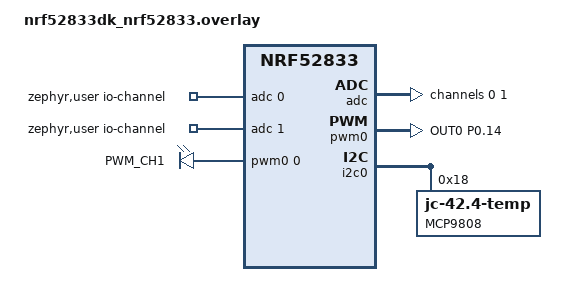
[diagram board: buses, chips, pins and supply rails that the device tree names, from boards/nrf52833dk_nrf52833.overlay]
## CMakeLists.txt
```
# SPDX-License-Identifier: Apache-2.0

cmake_minimum_required(VERSION 3.20.0)
find_package(Zephyr REQUIRED HINTS $ENV{ZEPHYR_BASE})
project(ecg-temp-ble-project)

# make sure to add the source code for new libraries
target_sources(app PRIVATE src/main.c src/read_temperature_sensor.c src/ble-lib.c src/heart_beat_peak_detection.c)
```

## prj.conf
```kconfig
CONFIG_GPIO=y
CONFIG_LOG=y
CONFIG_ADC=y
CONFIG_ADC_ASYNC=y
CONFIG_PWM=y
CONFIG_SMF=y
CONFIG_SENSOR=y
CONFIG_CBPRINTF_FP_SUPPORT=y
CONFIG_EVENTS=y

# BLE
CONFIG_BT=y
CONFIG_BT_PERIPHERAL=y
CONFIG_BT_DEVICE_NAME="Arsh Banipal Final Device"
CONFIG_BT_DEVICE_APPEARANCE=0
CONFIG_BT_MAX_CONN=1
CONFIG_BT_LL_SOFTDEVICE=y
CONFIG_BT_BAS=y 
CONFIG_BT_HRS=y
CONFIG_BT_SETTINGS=y
CONFIG_SETTINGS_RUNTIME=y
CONFIG_SETTINGS=y
CONFIG_SETTINGS_NONE=y

# DIS (Device Information Service)
CONFIG_BT_DIS=y
CONFIG_BT_DIS_SETTINGS=y
CONFIG_BT_DIS_STR_MAX=25
CONFIG_BT_DIS_MODEL="nRF52833dk"
CONFIG_BT_DIS_MANUF="Nordic Semiconductor"
CONFIG_BT_DIS_SERIAL_NUMBER=y
CONFIG_BT_DIS_SERIAL_NUMBER_STR="0001"
CONFIG_BT_DIS_FW_REV=y
CONFIG_BT_DIS_FW_REV_STR="1.0.0" 
CONFIG_BT_DIS_HW_REV=y
CONFIG_BT_DIS_HW_REV_STR="1.0.0"
CONFIG_BT_DIS_SW_REV=y
CONFIG_BT_DIS_SW_REV_STR="1.0.0"
CONFIG_BT_DIS_PNP=y
CONFIG_BT_DIS_PNP_VID_SRC=1
CONFIG_BT_DIS_PNP_VID=0x01FF

# Debugging
CONFIG_DEBUG_OPTIMIZATIONS=y
CONFIG_DEBUG_THREAD_INFO=y
```

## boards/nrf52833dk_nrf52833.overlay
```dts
/ {
        zephyr,user {
            io-channels = <&adc 0>, <&adc 1>;
                };
	aliases {
        heartbeat = &led0;  // this corresponds to LED1 on the board
        // batterylevel = &led1;  // this corresponds to LED2 on the board
        avgheartrate = &led2;  // this corresponds to LED3 on the board
        erroronly = &led3;  // this corresponds to LED4 on the board

        hrmeasure = &button0;
        clearmeasure = &button1;
        resetdevice = &button2;

        vadc = &vadc;
        diffadc = &diffadc;

        pwm1 = &pwmch1;
	};

    pwm {
        compatible = "pwm-leds";
        // Battery level LED
        pwmch1: pwm_1 {
            pwms = < &pwm0 0 PWM_MSEC(1) PWM_POLARITY_INVERTED>;
            label = "PWM_CH1";
        };
    };
};

&adc {
    #address-cells = <1>;
    #size-cells = <0>;

    vadc: channel@0 {
        reg = <0>;
        zephyr,reference = "ADC_REF_INTERNAL";
        zephyr,gain = "ADC_GAIN_1_5";
        zephyr,acquisition-time = <ADC_ACQ_TIME_DEFAULT>;
        zephyr,input-positive = <NRF_SAADC_AIN0>; // P0.02
        zephyr,resolution = <12>;
    };

    diffadc: channel@1 {
        reg = <1>;
        zephyr,reference = "ADC_REF_INTERNAL";
        zephyr,gain = "ADC_GAIN_1_5";
        zephyr,acquisition-time = <ADC_ACQ_TIME_DEFAULT>;
        zephyr,input-positive = <NRF_SAADC_AIN1>;  // P0.03
        zephyr,input-negative = <NRF_SAADC_AIN2>;  // P0.04
        zephyr,resolution = <12>;
    };

    status = "okay";
};

&pwm0 {
    compatible = "nordic,nrf-pwm";
    reg = <0x4001c000 0x1000>;
    interrupts = <28 NRF_DEFAULT_IRQ_PRIORITY>;
    status = "okay";
    #pwm-cells = <3>;
    pinctrl-0 = <&pwm0_default>;
    pinctrl-1 = <&pwm0_sleep>;
    pinctrl-names = "default", "sleep";
};
&pinctrl {
    compatible = "nordic,nrf-pinctrl";
    status = "okay";
    pwm0_default: pwm0_default {
        group1 {
            psels = <NRF_PSEL(PWM_OUT0, 0, 14)>; // P0.14, channel 0
            nordic,invert;
        };
    };
    pwm0_sleep: pwm0_sleep {
        group1 {
            psels = <NRF_PSEL(PWM_OUT0, 0, 14)>; // P0.14, channel 0
            low-power-enable;
        };
    };
}; 

/* I2C Pin Mapping
SCK: P0.27
SDA: P0.26
*/
&i2c0 {
    status = "okay";

    mcp9808@18 {
        compatible = "jedec,jc-42.4-temp";
        reg = <0x18>;
        label = "MCP9808";
        status = "okay";
    };
};
```

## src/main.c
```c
#include <zephyr/kernel.h>
#include <zephyr/device.h>
#include <zephyr/devicetree.h>
#include <zephyr/drivers/gpio.h> 
#include <zephyr/logging/log.h>
#include <zephyr/drivers/adc.h>
#include <zephyr/drivers/pwm.h> 
#include <zephyr/smf.h> 

#include "read_temperature_sensor.h"
#include "heart_beat_peak_detection.h"
#include "ble-lib.h"

LOG_MODULE_REGISTER(main, LOG_LEVEL_DBG);

#define MEASUREMENT_DELAY_MS 1000
#define BATTERY_MEASURE_INTERVAL_MS 60000
#define PWM_PERIOD_USEC 1000

#define ECG_SAMPLE_RATE_HZ 1000
#define ECG_DURATION_SEC 30
#define ECG_BUFFER_SIZE (ECG_SAMPLE_RATE_HZ * ECG_DURATION_SEC)

#define ERROR_LED_ON_TIME_MS 500
#define ERROR_LED_PERIOD_USEC (ERROR_LED_ON_TIME_MS * 1000)

static struct adc_sequence ecg_seq;
static volatile int ecg_sample_index = 0;

volatile bool led2_enabled = true;
volatile bool error_state_flag = false;

float battery_pct = 0.0f;  // should be int; don't need float precision

static struct k_poll_signal adc_signal;

extern enum bt_data_notifications_enabled notifications_enabled;
extern struct bt_gatt_service remote_srv;


static enum adc_action ecg_adc_callback(const struct device *dev,
    const struct adc_sequence *sequence,
    void *user_data)
{
    ARG_UNUSED(dev);
    ARG_UNUSED(sequence);
    ARG_UNUSED(user_data);

    ecg_sample_index++;
    return ADC_ACTION_FINISH;
}

static struct adc_sequence_options ecg_seq_opts = {
    .callback = ecg_adc_callback,
    .user_data = NULL,
    .extra_samplings = 0,
};

// function declarations

const struct device *const temp_sensor = DEVICE_DT_GET_ONE(jedec_jc_42_4_temp);

float temperature_degC;
volatile float measured_bpm = 0.0f;  // would use int; shouldn't have to be volatile

// Define Device Events
K_EVENT_DEFINE(app_events);
// Represent Button with Mask
#define MEASURE_DATA BIT(0)
#define CLEAR_LED BIT(1)
#define RESET_DEVICE BIT(2)
#define BATTERY_TIMER_EVENT BIT(3)

// Define Error Events
K_EVENT_DEFINE(errors);
// Represent Errors with Mask
#define MEASURE_ERROR BIT(0)
#define LED_BUTTON_ERROR BIT(1)
#define ADC_ERROR BIT(2)
#define TEMP_SENSOR_ERROR BIT(3)
#define BLE_ERROR BIT(4)


void battery_timer_handler(struct k_timer *timer_id) {
    k_event_post(&app_events, BATTERY_TIMER_EVENT);
}
K_TIMER_DEFINE(battery_timer, battery_timer_handler, NULL);


// Define ADC Channel Configuration
#define ADC_DT_SPEC_GET_BY_ALIAS(adc_alias)                  \
{                                                            \
    .dev = DEVICE_DT_GET(DT_PARENT(DT_ALIAS(adc_alias))),    \
    .channel_id = DT_REG_ADDR(DT_ALIAS(adc_alias)),          \
    ADC_CHANNEL_CFG_FROM_DT_NODE(DT_ALIAS(adc_alias))        \
}

static const struct adc_dt_spec adc_vadc = ADC_DT_SPEC_GET_BY_ALIAS(vadc);
static int16_t adc_buf;

static const struct adc_dt_spec adc_diff = ADC_DT_SPEC_GET_BY_ALIAS(diffadc);
static int16_t ecg_buffer[ECG_BUFFER_SIZE];

static const struct pwm_dt_spec pwm1 = PWM_DT_SPEC_GET(DT_ALIAS(pwm1));

// Configure LEDs and Buttons
static const struct gpio_dt_spec heartbeat_led = GPIO_DT_SPEC_GET(DT_ALIAS(heartbeat), gpios);
// static const struct gpio_dt_spec battery_led = GPIO_DT_SPEC_GET(DT_ALIAS(batterylevel), gpios);
static const struct gpio_dt_spec average_hr_led = GPIO_DT_SPEC_GET(DT_ALIAS(avgheartrate), gpios);
static const struct gpio_dt_spec error_led = GPIO_DT_SPEC_GET(DT_ALIAS(erroronly), gpios);

static const struct gpio_dt_spec measure_button = GPIO_DT_SPEC_GET(DT_ALIAS(hrmeasure), gpios);
static const struct gpio_dt_spec clear_button = GPIO_DT_SPEC_GET(DT_ALIAS(sw1), gpios);
static const struct gpio_dt_spec reset_button = GPIO_DT_SPEC_GET(DT_ALIAS(sw2), gpios);

static struct gpio_callback measure_button_cb;
void measure_button_callback(const struct device *dev, struct gpio_callback *cb, uint32_t pins) {
    k_event_post(&app_events, MEASURE_DATA);
}

static struct gpio_callback clear_button_cb;
void clear_button_callback(const struct device *dev, struct gpio_callback *cb, uint32_t pins) {
    if (error_state_flag) {
        return;
    }

    if (led2_enabled) {
        LOG_INF("Clearing LED2");
        led2_enabled = false;  // can directly get GPIO output status instead of needing to manually track
        k_event_post(&app_events, CLEAR_LED);
    } else {
        LOG_WRN("LED2 is already off. No heart rate measurement taken yet.");
    }
}


static struct gpio_callback reset_button_cb;
void reset_button_callback(const struct device *dev, struct gpio_callback *cb, uint32_t pins) {
    k_event_post(&app_events, RESET_DEVICE);
}

// State Framework
enum states { INIT, IDLE, MEASURE, BATTERY, ERROR };

int state = INIT;

static const struct smf_state states[];
struct s_object {
    struct smf_ctx ctx;
} s_obj;

// Initialize Threads
void heartbeat_thread(void *, void *, void *) {
    while (1) {
        if (!error_state_flag) {
            gpio_pin_set_dt(&heartbeat_led, 1);
            k_msleep(500);  // macro
            gpio_pin_set_dt(&heartbeat_led, 0);
            k_msleep(500); // macro
        } else {
            k_msleep(100);  // ??
        }
    }
}
K_THREAD_DEFINE(heartbeat_thread_id, 1024, heartbeat_thread, NULL, NULL, NULL, 5, 0, 0);

void average_hr_led_thread(void *, void *, void *) {
    while (1) {
        // this logical workflow, especially w/ the continue statements, is difficult to follow and ripe for bugs
        if (error_state_flag) {
            k_msleep(100);  // ??
            continue;
        }

        if (!led2_enabled) {
            gpio_pin_set_dt(&average_hr_led, 0);
            k_msleep(200); // ??
            continue;
        }

        float bpm = measured_bpm;
        if (bpm >= 40.0f && bpm <= 200.0f) {  // all specs should be macros
            float hz = bpm / 60.0f;
            int period_ms = (int)(1000.0f / hz);
            int on_time = period_ms / 4;
            int off_time = period_ms - on_time;

            gpio_pin_set_dt(&average_hr_led, 1);
            k_msleep(on_time);
            gpio_pin_set_dt(&average_hr_led, 0);
            k_msleep(off_time);
        } else {
            gpio_pin_set_dt(&average_hr_led, 0);
            k_msleep(200);
        }
    }
}


K_THREAD_DEFINE(average_hr_led_thread_id, 1024, average_hr_led_thread,
                NULL, NULL, NULL, 5, 0, 0);

void error_leds_thread(void *, void *, void *) {
    while (1) {
        if (error_state_flag) {
            gpio_pin_set_dt(&heartbeat_led, 1);
            pwm_set_dt(&pwm1, ERROR_LED_PERIOD_USEC, ERROR_LED_PERIOD_USEC);  // use DT-defined period
            gpio_pin_set_dt(&average_hr_led, 1);
            gpio_pin_set_dt(&error_led, 1);
            k_msleep(ERROR_LED_ON_TIME_MS);
            gpio_pin_set_dt(&heartbeat_led, 0);
            pwm_set_pulse_dt(&pwm1, 0);
            gpio_pin_set_dt(&average_hr_led, 0);
            gpio_pin_set_dt(&error_led, 0);
            k_msleep(ERROR_LED_ON_TIME_MS);
        } else {
            k_msleep(100);  // ??
        }
    }
}

K_THREAD_DEFINE(error_leds_thread_id, 1024, error_leds_thread,
                NULL, NULL, NULL, 5, 0, 0);

// Helper Functions
float check_battery_and_update_pwm(void) {
    struct adc_sequence seq = {
        .buffer = &adc_buf,
        .buffer_size = sizeof(adc_buf),
        .resolution = 12, // set in DT
        .channels = BIT(adc_vadc.channel_id),  // set in DT
    };
    adc_sequence_init_dt(&adc_vadc, &seq);

    if (adc_read(adc_vadc.dev, &seq) == 0) {
        int32_t val_mv = adc_buf;
        if (adc_raw_to_millivolts_dt(&adc_vadc, &val_mv) == 0) {
            battery_pct = val_mv / 3000.0f;
            uint32_t pulse_width = (uint32_t)(battery_pct * PWM_PERIOD_USEC);

            int ret = pwm_set_pulse_dt(&pwm1, pulse_width * 1000);
            if (ret < 0) {
                LOG_ERR("PWM set failed: %d", ret);
            }

            LOG_INF("Battery level: %d mV → %.1f%% brightness", val_mv, battery_pct * 100);
            return (float)val_mv;
        } else {
            LOG_ERR("ADC to millivolts conversion failed");
        }
    } else {
        LOG_ERR("ADC read failed");
    }
    return -1.0f;
}


void ecg_sample_work_handler(struct k_work *work);
void ecg_sample_timer_handler(struct k_timer *timer);

K_WORK_DEFINE(ecg_sample_work, ecg_sample_work_handler);
K_TIMER_DEFINE(ecg_sample_timer, ecg_sample_timer_handler, NULL);

void ecg_sample_work_handler(struct k_work *work) {
    if (ecg_sample_index >= ECG_BUFFER_SIZE) {
        k_timer_stop(&ecg_sample_timer);
        return;
    }

    ecg_seq.buffer = &ecg_buffer[ecg_sample_index];
    ecg_seq.buffer_size = sizeof(int16_t);
    ecg_seq.options = &ecg_seq_opts;  // <--- CRITICAL FIX

    int err = adc_read_async(adc_diff.dev, &ecg_seq, &adc_signal);
    if (err < 0) {
        LOG_ERR("ADC async read failed at index %d (%d)", ecg_sample_index, err);  
        k_timer_stop(&ecg_sample_timer);
        smf_set_state(SMF_CTX(&s_obj), &states[ERROR]);
    }
}


void ecg_sample_timer_handler(struct k_timer *timer) {
    k_work_submit(&ecg_sample_work);  // using a work queue doesn't help with timing accuracy
}

float measure_average_heart_rate(void) {  // you should be returning an int exit code, not a potential value or an exit code-like float
    if (!device_is_ready(adc_diff.dev)) {
        LOG_ERR("Differential ADC not ready");
        return -1.0f;
    }

    if (adc_channel_setup_dt(&adc_diff) < 0) {
        LOG_ERR("Failed to setup ADC diff channel");
        return -1.0f;
    }

    ecg_sample_index = 0;

    ecg_seq = (struct adc_sequence){
        .buffer = &ecg_buffer[0],
        .buffer_size = sizeof(int16_t),
        .resolution = 12,  // set in DT
        .oversampling = 4,  // this is not valid; it applies to ALL channels, including your battery channel
        .channels = BIT(adc_diff.channel_id),
    };
    adc_sequence_init_dt(&adc_diff, &ecg_seq);

    k_timer_start(&ecg_sample_timer, K_NO_WAIT, K_MSEC(1));

    while (ecg_sample_index < ECG_BUFFER_SIZE) {
        uint32_t events = k_event_wait(&app_events, MEASURE_DATA, false, K_NO_WAIT);
        if (events & MEASURE_DATA) {
            LOG_ERR("ERROR: Measurement button pressed again during ECG sampling.");
            k_event_post(&errors, MEASURE_ERROR);
            k_timer_stop(&ecg_sample_timer);
            return -1.0f;  
        }
        k_sleep(K_MSEC(1));
    }

    LOG_HEXDUMP_INF(ecg_buffer, sizeof(ecg_buffer), "ECG Buffer (HEX)");
    float bpm = compute_bpm(ecg_buffer, ECG_BUFFER_SIZE, ECG_SAMPLE_RATE_HZ, ECG_DURATION_SEC);
    return bpm;
}

float read_temperature(void) {

    float temp;  // unused
    int ret = read_temperature_sensor(temp_sensor, &temperature_degC);
        if (ret != 0) {
            LOG_ERR("There was a problem reading the temperature sensor (%d)", ret);
            return ret;
        }
    return temperature_degC;
}


// State Framework Functions

static void init_run(void *o) {
    if (!device_is_ready(heartbeat_led.port) ||
        !device_is_ready(average_hr_led.port) ||
        !device_is_ready(error_led.port) ||
        !device_is_ready(measure_button.port) ||
        !device_is_ready(clear_button.port) ||
        !device_is_ready(reset_button.port)) {
        LOG_ERR("GPIO0 device not ready.");
        k_event_post(&errors, LED_BUTTON_ERROR);
        smf_set_state(SMF_CTX(&s_obj), &states[ERROR]);

        return;
    }

    gpio_pin_configure_dt(&heartbeat_led, GPIO_OUTPUT_INACTIVE);
    gpio_pin_configure_dt(&average_hr_led, GPIO_OUTPUT_INACTIVE);
    gpio_pin_configure_dt(&error_led, GPIO_OUTPUT_INACTIVE);

    gpio_pin_configure_dt(&measure_button, GPIO_INPUT);
    gpio_pin_interrupt_configure_dt(&measure_button, GPIO_INT_EDGE_TO_ACTIVE);
    gpio_pin_configure_dt(&clear_button, GPIO_INPUT);
    gpio_pin_interrupt_configure_dt(&clear_button, GPIO_INT_EDGE_TO_ACTIVE);
    gpio_pin_configure_dt(&reset_button, GPIO_INPUT);
    gpio_pin_interrupt_configure_dt(&reset_button, GPIO_INT_EDGE_TO_ACTIVE);

    gpio_init_callback(&measure_button_cb, measure_button_callback, BIT(measure_button.pin));
    gpio_add_callback_dt(&measure_button, &measure_button_cb);

    gpio_init_callback(&clear_button_cb, clear_button_callback, BIT(clear_button.pin));
    gpio_add_callback_dt(&clear_button, &clear_button_cb);

    gpio_init_callback(&reset_button_cb, reset_button_callback, BIT(reset_button.pin));
    gpio_add_callback_dt(&reset_button, &reset_button_cb);

    if (!device_is_ready(adc_vadc.dev)) {
        LOG_ERR("Battery ADC not ready in INIT");
        k_event_post(&errors, ADC_ERROR);
        smf_set_state(SMF_CTX(&s_obj), &states[ERROR]);
        return;
    }

    if (adc_channel_setup_dt(&adc_vadc) < 0) {
        LOG_ERR("Failed to setup battery ADC channel in INIT");
        k_event_post(&errors, ADC_ERROR);
        smf_set_state(SMF_CTX(&s_obj), &states[ERROR]);
        return;
    }

    
    int ret = bluetooth_init(&bluetooth_callbacks, &remote_service_callbacks);
    if (ret < 0) {
        LOG_ERR("Bluetooth init failed (%d)", ret);
        k_event_post(&errors, BLE_ERROR);
        smf_set_state(SMF_CTX(&s_obj), &states[ERROR]);
        return;
    }
    

    LOG_INF("Initial battery check on boot...");

    uint16_t battery_mv = (uint16_t)check_battery_and_update_pwm();
    bluetooth_set_battery_level(battery_mv);

    smf_set_state(SMF_CTX(&s_obj), &states[IDLE]);
}


static void idle_entry(void *o) {
    LOG_INF("Entering IDLE State");
    k_timer_start(&battery_timer, K_MSEC(BATTERY_MEASURE_INTERVAL_MS), K_MSEC(BATTERY_MEASURE_INTERVAL_MS));
}

static void idle_run(void *o) {
    LOG_INF("WAITING FOR BUTTON");

    uint32_t error_flags = k_event_wait(&errors,
        MEASURE_ERROR | LED_BUTTON_ERROR | ADC_ERROR | TEMP_SENSOR_ERROR | BLE_ERROR,
        false, K_NO_WAIT);
    
    if (error_flags) {
        LOG_ERR("Error detected: 0x%X", error_flags);
        smf_set_state(SMF_CTX(&s_obj), &states[ERROR]);
        return;
    }

    uint32_t events = k_event_wait(&app_events, MEASURE_DATA | BATTERY_TIMER_EVENT, true, K_FOREVER);
    if (events & MEASURE_DATA) {
        smf_set_state(SMF_CTX(&s_obj), &states[MEASURE]);
    } else if (events & BATTERY_TIMER_EVENT) {
        smf_set_state(SMF_CTX(&s_obj), &states[BATTERY]);
    }
}

static void battery_entry(void *o) {
    LOG_INF("BATTERY ENTRY: Setting up ADC");

    if (!device_is_ready(adc_vadc.dev)) {
        LOG_ERR("Battery ADC not ready");
        k_event_post(&errors, ADC_ERROR);
        return;
    }

    if (adc_channel_setup_dt(&adc_vadc) < 0) {
        LOG_ERR("Failed to setup battery ADC channel");
        k_event_post(&errors, ADC_ERROR);
        return;
    }
}

static void battery_run(void *o) {
    LOG_INF("BATTERY RUN: Checking battery level");

    uint32_t error_flags = k_event_wait(&errors,
        MEASURE_ERROR | LED_BUTTON_ERROR | ADC_ERROR | TEMP_SENSOR_ERROR | BLE_ERROR,
        false, K_NO_WAIT);
    
    if (error_flags) {
        LOG_ERR("Error detected: 0x%X", error_flags);
        smf_set_state(SMF_CTX(&s_obj), &states[ERROR]);
        return;
    }

    uint16_t battery_mv = (uint16_t)check_battery_and_update_pwm();
    bluetooth_set_battery_level(battery_mv);
    smf_set_state(SMF_CTX(&s_obj), &states[IDLE]);
}

static void measure_entry(void *o) {
    LOG_INF("Measure ENTRY");
    (void)k_event_wait(&app_events, MEASURE_DATA, true, K_NO_WAIT);

    if (!device_is_ready(adc_diff.dev)) {
        LOG_ERR("ADC not ready");
        k_event_post(&errors, ADC_ERROR);
        return;
    }
    if (!device_is_ready(temp_sensor)) {
        LOG_ERR("Temperature sensor %s is not ready", temp_sensor->name);
        k_event_post(&errors, TEMP_SENSOR_ERROR);
        return;
    }
    else {
        LOG_INF("Temperature sensor %s is ready", temp_sensor->name);
    }
}

static void measure_run(void *o) {
    LOG_INF("Measure RUN: Starting ECG measurement");

    uint32_t error_flags = k_event_wait(&errors,
        MEASURE_ERROR | LED_BUTTON_ERROR | ADC_ERROR | TEMP_SENSOR_ERROR | BLE_ERROR,
        false, K_NO_WAIT);
    
    if (error_flags) {
        LOG_ERR("Error detected: 0x%X", error_flags);
        smf_set_state(SMF_CTX(&s_obj), &states[ERROR]);
        return;
    }

    float bpm = measure_average_heart_rate();
    float temp = read_temperature();
    if (bpm < 0) {
        LOG_ERR("Error measuring heart rate");
        k_event_post(&errors, MEASURE_ERROR);
        smf_set_state(SMF_CTX(&s_obj), &states[ERROR]);
        return;
    }

    LOG_INF("Computed Average Heart Rate: %.1f BPM", bpm);

    measured_bpm = bpm;
    uint16_t bluetooth_bpm = (int)bpm;

    // Send hr and temperature data to Bluetooth
    bluetooth_set_heart_rate(bluetooth_bpm);
    if (notifications_enabled == BT_DATA_NOTIFICATIONS_ENABLED) {
        bt_gatt_notify(NULL, &remote_srv.attrs[1], &temperature_degC, sizeof(temperature_degC));
    }

    led2_enabled = true;

    smf_set_state(SMF_CTX(&s_obj), &states[IDLE]);
}

static void error_entry(void *o) {
    LOG_ERR("Entering ERROR state");

    k_timer_stop(&battery_timer);
    k_timer_stop(&ecg_sample_timer);


    error_state_flag = true;
    k_event_clear(&app_events, MEASURE_DATA | BATTERY_TIMER_EVENT);

    if (notifications_enabled == BT_DATA_NOTIFICATIONS_ENABLED) {
        bt_gatt_notify(NULL, &remote_srv.attrs[3], &errors.events, sizeof(errors.events));
    }
}


static void error_run(void *o) {
    LOG_INF("In ERROR state... waiting for reset");

    uint32_t events = k_event_wait(&app_events, RESET_DEVICE, true, K_FOREVER);

    if (events & RESET_DEVICE) {
        LOG_INF("Reset event received. Clearing error and reinitializing.");
        error_state_flag = false;

        k_event_clear(&errors, MEASURE_ERROR | ADC_ERROR | TEMP_SENSOR_ERROR | BLE_ERROR);
        
        smf_set_state(SMF_CTX(&s_obj), &states[IDLE]);
    }
}


static const struct smf_state states[] = {
    [INIT] = SMF_CREATE_STATE(NULL, init_run, NULL, NULL, NULL),
    [IDLE] = SMF_CREATE_STATE(idle_entry, idle_run, NULL, NULL, NULL),
    [MEASURE] = SMF_CREATE_STATE(measure_entry, measure_run, NULL, NULL, NULL),
    [BATTERY] = SMF_CREATE_STATE(battery_entry, battery_run, NULL, NULL, NULL),
    [ERROR] = SMF_CREATE_STATE(error_entry, error_run, NULL, NULL, NULL),
};

int main(void) {

    k_poll_signal_init(&adc_signal);
   
    smf_set_initial(SMF_CTX(&s_obj), &states[INIT]);
    // read the temperature every MEASUREMENT_DELAY_MS
    while (1) {

        smf_run_state(SMF_CTX(&s_obj));
        k_msleep(100);
    }

    // no termination state

    return 0;  // this should not be zero, as you don't have a "good" reason to exit
}
```

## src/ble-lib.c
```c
#include "ble-lib.h"

LOG_MODULE_REGISTER(blelib, LOG_LEVEL_DBG);

// define a semaphore to make sure that bt_init_ok() completes before proceeding
// this is probably overkill, but it's a good practice
static K_SEM_DEFINE(bt_init_ok, 1, 1);

#define DEVICE_NAME CONFIG_BT_DEVICE_NAME
#define DEVICE_NAME_LEN (sizeof(DEVICE_NAME)-1)
#define NOMINAL_BATTERY_VOLT_MV 3000  // this might make more sense to have in main.c

// extern means this is defined elsewhere (in this case, main.c)
extern int32_t temperature_degC;  // temperature data characteristic will read from this variable
extern struct k_event errors; // errors characteristic will read from this variable

enum bt_data_notifications_enabled notifications_enabled;

/* Advertising data */
static const struct bt_data ad[] = {
    BT_DATA_BYTES(BT_DATA_FLAGS, (BT_LE_AD_GENERAL | BT_LE_AD_NO_BREDR)),
    BT_DATA(BT_DATA_NAME_COMPLETE, DEVICE_NAME, DEVICE_NAME_LEN)
};

/* Scan response data */
static const struct bt_data sd[] = {
    BT_DATA_BYTES(BT_DATA_UUID128_ALL, BT_UUID_REMOTE_SERV_VAL), 
};

/* UUID of the Remote Service */
// Project ID: 065 (3rd entry)
// BLE MFG ID = 0x02DF (4th entry)
/*  UUID of Data Characteristic  */
struct bt_uuid_128 remote_temperature_data_uuid = BT_UUID_INIT_128(
    BT_UUID_128_ENCODE(0xe9ea0001, 0xe19b, 0x0065, 0x02DF, 0xc7907585fc48));
/*  UUID of Errors Characteristic  */
struct bt_uuid_128 remote_err_uuid = BT_UUID_INIT_128(
    BT_UUID_128_ENCODE(0xe9ea0002, 0xe19b, 0x0065, 0x02DF, 0xc7907585fc48));
/*  UUID of Message Characteristic   */
struct bt_uuid_128 remote_msg_uuid = BT_UUID_INIT_128(
    BT_UUID_128_ENCODE(0xe9ea0003, 0xe19b, 0x0065, 0x02DF, 0xc7907585fc48));

/* Setup services */
BT_GATT_SERVICE_DEFINE(remote_srv,
    BT_GATT_PRIMARY_SERVICE(BT_UUID_REMOTE_SERVICE),
    BT_GATT_CHARACTERISTIC(&remote_temperature_data_uuid.uuid,
                    BT_GATT_CHRC_READ | BT_GATT_CHRC_NOTIFY,
                    BT_GATT_PERM_READ,
                    read_temperature_data_cb, NULL, NULL),
    BT_GATT_CCC(ccc_cfg_changed_cb, BT_GATT_PERM_READ | BT_GATT_PERM_WRITE),
    BT_GATT_CHARACTERISTIC(&remote_err_uuid.uuid,
                    BT_GATT_CHRC_READ | BT_GATT_CHRC_NOTIFY,
                    BT_GATT_PERM_WRITE | BT_GATT_PERM_READ,
                    read_error_cb, NULL, NULL),
    BT_GATT_CCC(ccc_cfg_changed_cb, BT_GATT_PERM_READ | BT_GATT_PERM_WRITE),
    BT_GATT_CHARACTERISTIC(&remote_msg_uuid.uuid,
                    BT_GATT_CHRC_WRITE_WITHOUT_RESP,
                    BT_GATT_PERM_WRITE,
                    NULL, on_write, NULL),
    BT_GATT_CCC(ccc_cfg_changed_cb, BT_GATT_PERM_READ | BT_GATT_PERM_WRITE),
);

struct bt_conn *current_conn;
struct bt_conn_cb bluetooth_callbacks = {
    .connected = on_connected,
    .disconnected = on_disconnected,
};

struct bt_remote_srv_cb remote_service_callbacks = {
    .notif_changed = on_notif_changed,
    .data_rx = on_data_rx,
};

/* Callbacks */
void on_data_rx(struct bt_conn *conn, const uint8_t *const data, uint16_t len) {
    // copy the data to a temporary buffer and append a NULL character
    uint8_t temp_str[len+1];
    memcpy(temp_str, data, len);
    temp_str[len] = 0x00;  // append NULL character at the end
    LOG_INF("BT received data on conn %p. Len: %d", (void *)conn, len);
    LOG_INF("Data: %s", temp_str);
}

void on_connected(struct bt_conn *conn, uint8_t ret) {
    if (ret) {
        LOG_ERR("Connection error: %d", ret);
        return;
    }
    LOG_INF("BT connected");
    current_conn = bt_conn_ref(conn);
}

void on_disconnected(struct bt_conn *conn, uint8_t reason) {
    LOG_INF("BT disconnected (reason: %d)", reason);
    if (current_conn) {
        bt_conn_unref(current_conn);
        current_conn = NULL;
    }
}

void on_notif_changed(enum bt_data_notifications_enabled status) {
    if (status == BT_DATA_NOTIFICATIONS_ENABLED) {
        LOG_INF("BT notifications enabled");
    } else {
        LOG_INF("BT notifications disabled");
    }
}

const struct bt_gatt_attr *attr = &remote_srv.attrs[2];

void ccc_cfg_changed_cb(const struct bt_gatt_attr *attr, uint16_t value) {
    bool notif_enabled = (value == BT_GATT_CCC_NOTIFY);
    LOG_INF("Notifications: %s", notif_enabled? "enabled":"disabled");
    notifications_enabled = notif_enabled? BT_DATA_NOTIFICATIONS_ENABLED:BT_DATA_NOTIFICATIONS_DISABLED;
    if (remote_service_callbacks.notif_changed) {
        remote_service_callbacks.notif_changed(notifications_enabled);
    }
}

/* These callbacks are used when a read request is made to the remote service */
ssize_t read_temperature_data_cb(struct bt_conn *conn, const struct bt_gatt_attr *attr, void *buf, uint16_t len, uint16_t offset) {
    return bt_gatt_attr_read(conn, attr, buf, len, offset, &temperature_degC, sizeof(temperature_degC));
}

ssize_t read_error_cb(struct bt_conn *conn, const struct bt_gatt_attr *attr, void *buf, uint16_t len, uint16_t offset) {
    return bt_gatt_attr_read(conn, attr, buf, len, offset, &errors.events, sizeof(errors.events));
}

ssize_t on_write(struct bt_conn *conn, const struct bt_gatt_attr *attr, const void *buf, uint16_t len, uint16_t offset, uint8_t flags) {
    LOG_INF("Received data, handle %d, conn %p", attr->handle, (void *)conn);
    
    if (remote_service_callbacks.data_rx) {
        remote_service_callbacks.data_rx(conn, buf, len);
    }
    return len;
}


void on_sent(struct bt_conn *conn, void *user_data) {
    ARG_UNUSED(user_data);
    LOG_INF("Notification sent on connection %p", (void *)conn);
}

void bt_ready(int ret) {
    if (ret) {
        LOG_ERR("bt_enable returned %d", ret);
    }
    // release the thread once initialized
    k_sem_give(&bt_init_ok);
}

int bluetooth_init(struct bt_conn_cb *bt_cb, struct bt_remote_srv_cb *remote_cb) {
    LOG_INF("Initializing Bluetooth");
    if ((bt_cb == NULL) | (remote_cb == NULL)) {
        LOG_ERR("Invalid callback(s)");
        return -NRFX_ERROR_NULL;
    }
    bt_conn_cb_register(bt_cb);
    remote_service_callbacks.notif_changed = remote_cb->notif_changed;
    remote_service_callbacks.data_rx = remote_cb->data_rx;
    int ret = bt_enable(bt_ready);
    if (ret) {
        LOG_ERR("bt_enable returned %d", ret);
        return ret;
    }

    // hold the thread until Bluetooth is initialized
    k_sem_take(&bt_init_ok, K_FOREVER);
    if (IS_ENABLED(CONFIG_BT_SETTINGS)) {
        settings_load();
    }
    ret = bt_le_adv_start(BT_LE_ADV_CONN, ad, ARRAY_SIZE(ad), sd, ARRAY_SIZE(sd));
    if (ret) {
        LOG_ERR("Could not start advertising (ret = %d)", ret);
        return ret;
    } else {
        LOG_INF("Advertising successfully started");
    }
    return ret;
}

/* BAS Functions */
uint8_t bluetooth_get_battery_level(void) {
    uint8_t battery_level;
    battery_level =  bt_bas_get_battery_level();
    LOG_INF("Battery Level: %d pct", battery_level);
    return battery_level;
}

void bluetooth_set_battery_level(int32_t raw_mV) {
    LOG_DBG("Raw Battery: %d mV", raw_mV);
    
    float normalized_level = (float) 100 * raw_mV / NOMINAL_BATTERY_VOLT_MV;
    
    LOG_INF("Normalized Battery Level: %lf", (double)normalized_level);
    int err = bt_bas_set_battery_level((int)normalized_level);
    if (err) {
        LOG_ERR("BAS set error (err = %d)", err);
    }
}

void bluetooth_set_heart_rate(uint8_t bpm) {
    float heart_rate_bpm = bpm;
    int err = bt_hrs_notify(heart_rate_bpm);
    if (err) {
        LOG_WRN("HRS notify failed: %d", err);
    } else {
        LOG_INF("Heart rate notified: %d BPM", bpm);
    }
}
```

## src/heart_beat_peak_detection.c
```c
#include "heart_beat_peak_detection.h"
#include <stdint.h>
#include <stdlib.h>

float compute_bpm(const int16_t *ecg_buffer, int buffer_size, int sample_rate, int duration_sec) {
    const int16_t threshold = 100;
    int peak_count = 0;

    for (int i = 1; i < buffer_size - 1; i++) {
        if (ecg_buffer[i] > threshold &&
            ecg_buffer[i] > ecg_buffer[i - 1] &&
            ecg_buffer[i] > ecg_buffer[i + 1]) {
            peak_count++;
            i += sample_rate / 4;
        }
    }

    return ((float)peak_count / duration_sec) * 60.0f;
}
```

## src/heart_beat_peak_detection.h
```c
#ifndef HEART_BEAT_PEAK_DETECTION_H
#define HEART_BEAT_PEAK_DETECTION_H

// Function prototype goes here
#include <stdint.h>
#include <stddef.h>

float compute_bpm(const int16_t *ecg_buffer, int buffer_size, int sample_rate, int duration_sec);

#endif
```
